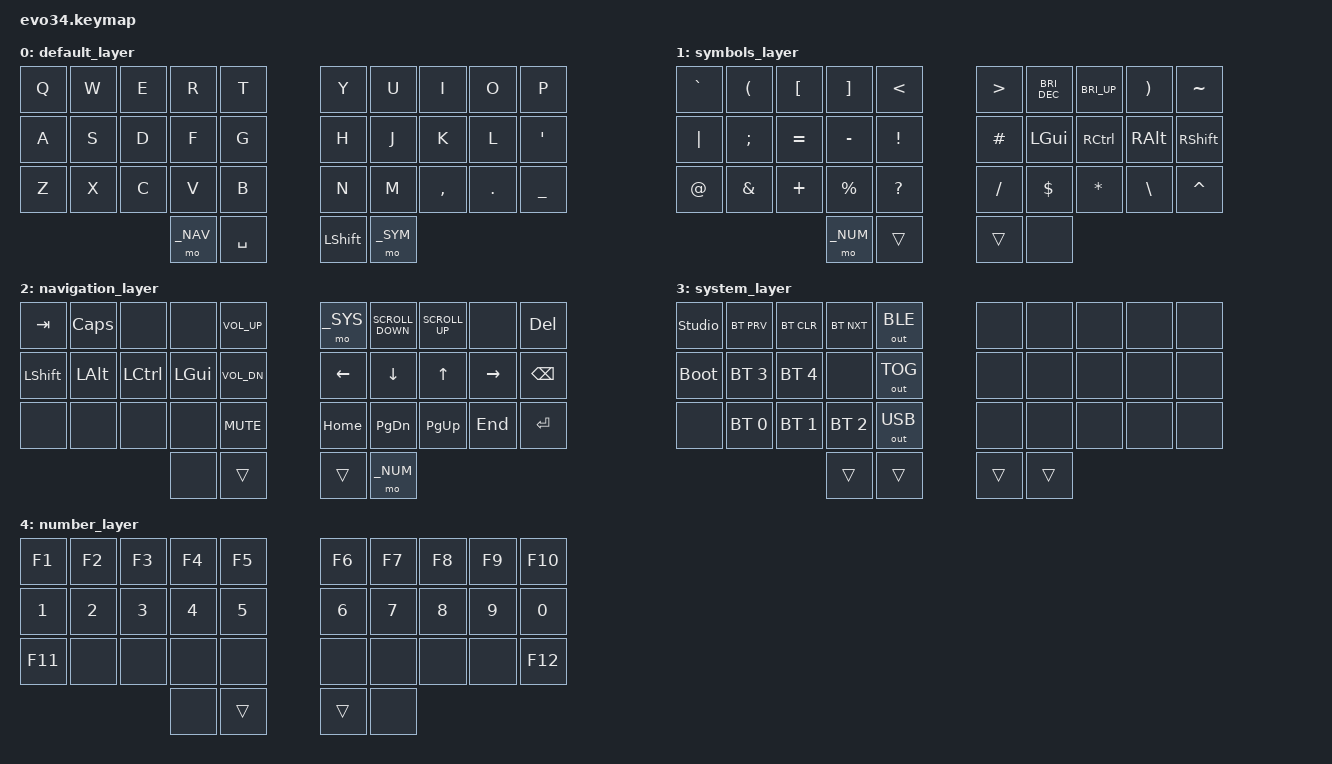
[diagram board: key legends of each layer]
/*
 * Copyright (c) 2020 The ZMK Contributors
 *
 * SPDX-License-Identifier: MIT
 */

#include <behaviors.dtsi>
#include <dt-bindings/zmk/bt.h>
#include <dt-bindings/zmk/keys.h>
#include <dt-bindings/zmk/outputs.h>

// LAYERS
#define _BSE 0
#define _SYM 1
#define _NAV 2
#define _SYS 3
#define _NUM 4 

&mt {
  flavor = "tap-preferred";
  tapping-term-ms = <200>;
  quick-tap-ms = <200>;
};

&lt {
  flavor = "tap-preferred";
  tapping-term-ms = <200>;
  quick-tap-ms = <200>;
};

&sl {
    release-after-ms = <1000>;
};

&sk {
    release-after-ms = <500>;
    quick-release;
};

/ {
  behaviors {
    hmt: hold_preferred_mod_tap {
      compatible = "zmk,behavior-hold-tap";
      #binding-cells = <2>;
      tapping-term-ms = <200>;
      quick-tap-ms = <0>;
      flavor = "hold-preferred";
      bindings = <&kp>, <&kp>;
    };
    hlt: hold_preferred_layer_tap {
      compatible = "zmk,behavior-hold-tap";
      #binding-cells = <2>;
      tapping-term-ms = <200>;
      quick-tap-ms = <0>;
      flavor = "hold-preferred";
      bindings = <&mo>, <&kp>;
    };
  };

 keymap {
    compatible = "zmk,keymap";

    default_layer {
      bindings = <
        &kp Q            &kp W            &kp E            &kp R           &kp T                 &kp Y             &kp U           &kp I            &kp O            &kp P
        &kp A            &kp S            &kp D            &kp F           &kp G                 &kp H             &kp J           &kp K            &kp L            &kp SQT
        &kp Z            &kp X            &kp C            &kp V           &kp B                 &kp N             &kp M           &kp COMMA        &kp DOT          &kp UNDER
                                                           &mo _NAV        &kp SPACE             &kp LSHIFT        &mo _SYM
      >;
    };

    symbols_layer {
      bindings = <
        &kp GRAVE        &kp LPAR         &kp LBKT         &kp RBKT         &kp LT                &kp GT           &kp C_BRI_DEC    &kp C_BRI_UP     &kp RPAR         &kp TILDE
        &kp PIPE         &kp SEMI         &kp EQUAL        &kp MINUS        &kp EXCL              &kp HASH         &kp LGUI         &kp RCTRL        &kp RALT         &kp RSHIFT
        &kp AT           &kp AMPS         &kp PLUS         &kp PRCNT        &kp QMARK             &kp SLASH        &kp DLLR         &kp ASTRK        &kp BACKSLASH    &kp CARET 
                                                           &mo _NUM         &trans                &trans           &none
      >;
    };

    navigation_layer {
      bindings = <
        &kp TAB          &kp CAPS         &none            &none            &kp C_VOL_UP         &mo _SYS         &kp K_SCROLL_DOWN &kp K_SCROLL_UP  &none            &kp DEL
        &kp LSHIFT       &kp LALT         &kp LCTRL        &kp LGUI         &kp C_VOL_DN         &kp LEFT         &kp DOWN          &kp UP           &kp RIGHT        &kp BSPC
        &none            &none            &none            &none            &kp C_MUTE           &kp HOME         &kp PG_DN         &kp PG_UP        &kp END          &kp ENTER
                                                           &none            &trans               &trans           &mo _NUM
      >;
    };

    system_layer {
      bindings = <
        &studio_unlock   &bt BT_PRV       &bt BT_CLR       &bt BT_NXT       &out OUT_BLE          &none            &none            &none            &none            &none
        &bootloader      &bt BT_SEL 3     &bt BT_SEL 4     &none            &out OUT_TOG          &none            &none            &none            &none            &none
        &none            &bt BT_SEL 0     &bt BT_SEL 1     &bt BT_SEL 2     &out OUT_USB          &none            &none            &none            &none            &none
                                                           &trans           &trans                &trans           &trans
      >;
    };
    number_layer {
      bindings = <
        &kp F1          &kp F2           &kp F3            &kp F4           &kp F5                &kp F6           &kp F7           &kp F8           &kp F9           &kp F10
        &kp N1          &kp N2           &kp N3            &kp N4           &kp N5                &kp N6           &kp N7           &kp N8           &kp N9           &kp N0
        &kp F11         &none            &none             &none            &none                 &none            &none            &none            &none            &kp F12
                                                           &none            &trans                &trans           &none
      >;
    };
  };
};
